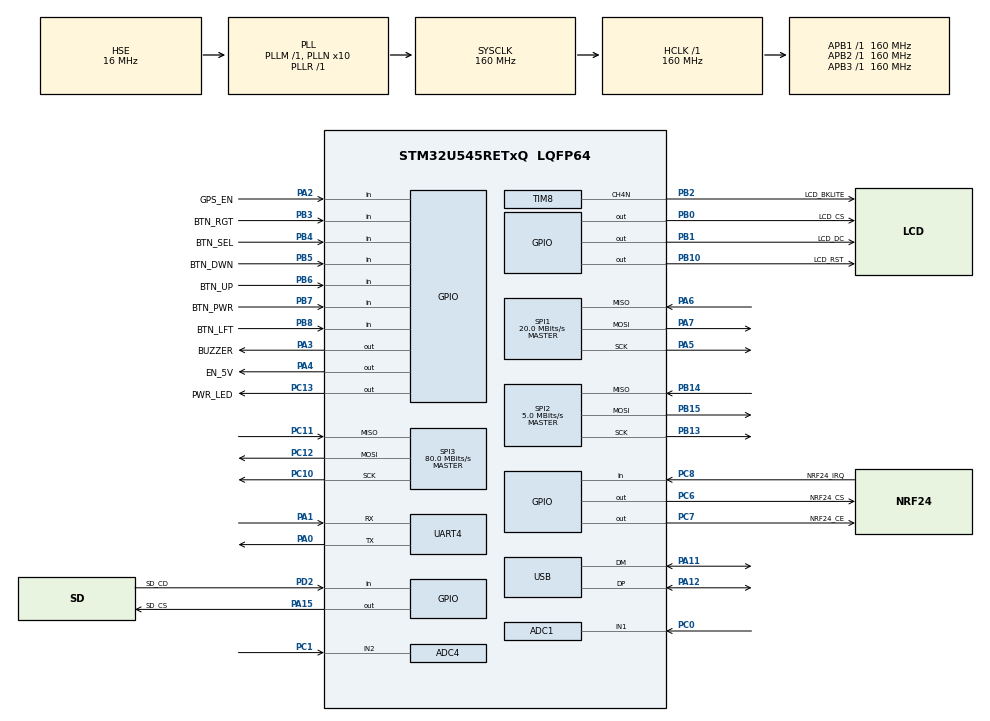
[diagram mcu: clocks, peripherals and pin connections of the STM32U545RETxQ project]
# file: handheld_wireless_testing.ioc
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ADC1.Channel-6\#ChannelRegularConversion=ADC_CHANNEL_1
ADC1.MonitoredBy-6\#ChannelRegularConversion=__NULL
ADC1.NbrOfConversionFlag=1
ADC1.OffsetNumber-6\#ChannelRegularConversion=ADC_OFFSET_NONE
ADC1.Rank-6\#ChannelRegularConversion=1
ADC1.SamplingTime-6\#ChannelRegularConversion=ADC_SAMPLETIME_5CYCLE
ADC1.master=1
ADC4.Channel-0\#ChannelRegularConversion=ADC_CHANNEL_2
ADC4.NbrOfConversionFlag=1
ADC4.OffsetNumber-0\#ChannelRegularConversion=ADC_OFFSET_NONE
ADC4.Rank-0\#ChannelRegularConversion=1
ADC4.RankArg-0\#ChannelRegularConversion=ADC4_REGULAR_RANK_1
ADC4.SamplingTime-0\#ChannelRegularConversion=ADC4_SAMPLINGTIME_COMMON_1
ADC4.SelectedChannel=ADC_CHANNEL_2
CORTEX_M33_NS.userName=CORTEX_M33
GPDMA1.DATAHANDLING_GPDMACH0=NONE
GPDMA1.DESTBURSTLENGTH_GPDMACH0=1
GPDMA1.DIRECTION_GPDMACH0=DMA_MEMORY_TO_PERIPH
GPDMA1.IPHANDLE_GPDMACH0-SIMPLEREQUEST_GPDMACH0=__NULL
GPDMA1.PRIORITY_GPDMACH0=DMA_LOW_PRIORITY_LOW_WEIGHT
GPDMA1.REQUEST_GPDMACH0=GPDMA1_REQUEST_SPI1_TX
GPDMA1.SRCBURSTLENGTH_GPDMACH0=1
GPDMA1.SRCINC_GPDMACH0=DMA_SINC_INCREMENTED
GPDMA1.TRIGGERPOLARITY_GPDMACH0=DMA_TRIG_POLARITY_MASKED
Mcu.Family=STM32U5
Mcu.Name=STM32U545RETxQ
Mcu.Package=LQFP64
NVIC.GPDMA1_Channel0_IRQn=true\:0\:0\:false\:false\:true\:false\:true\:true
NVIC.PriorityGroup=NVIC_PRIORITYGROUP_4
NVIC.SPI1_IRQn=true\:0\:0\:false\:false\:true\:false\:true\:true
NVIC.TIM6_IRQn=true\:0\:0\:false\:false\:true\:true\:true\:true
PA0.Mode=Asynchronous
PA0.Signal=UART4_TX
PA1.Mode=Asynchronous
PA1.Signal=UART4_RX
PA11.Mode=Host
PA11.Signal=USB_DM
PA12.Mode=Host
PA12.Signal=USB_DP
PA13\ (JTMS/SWDIO).Mode=Serial_Wire
PA13\ (JTMS/SWDIO).Signal=DEBUG_JTMS-SWDIO
PA14\ (JTCK/SWCLK).Mode=Serial_Wire
PA14\ (JTCK/SWCLK).Signal=DEBUG_JTCK-SWCLK
PA15\ (JTDI).GPIO_Label=SD_CS
PA15\ (JTDI).Signal=GPIO_Output
PA2.GPIO_Label=GPS_EN
PA2.Signal=GPIO_Input
PA3.GPIO_Label=BUZZER
PA3.Signal=GPIO_Output
PA4.GPIO_Label=EN_5V
PA4.Signal=GPIO_Output
PA5.Mode=Full_Duplex_Master
PA5.Signal=SPI1_SCK
PA6.Mode=Full_Duplex_Master
PA6.Signal=SPI1_MISO
PA7.Mode=Full_Duplex_Master
PA7.Signal=SPI1_MOSI
PB0.GPIO_Label=LCD_CS
PB0.Signal=GPIO_Output
PB1.GPIO_Label=LCD_DC
PB1.Signal=GPIO_Output
PB10.GPIO_Label=LCD_RST
PB10.Signal=GPIO_Output
PB13.Mode=Full_Duplex_Master
PB13.Signal=SPI2_SCK
PB14.Mode=Full_Duplex_Master
PB14.Signal=SPI2_MISO
PB15.Mode=Full_Duplex_Master
PB15.Signal=SPI2_MOSI
PB2.GPIO_Label=LCD_BKLITE
PB2.Mode=PWM Generation4 CH4N
PB2.Signal=TIM8_CH4N
PB3\ (JTDO/TRACESWO).GPIO_Label=BTN_RGT
PB3\ (JTDO/TRACESWO).Signal=GPIO_Input
PB4\ (NJTRST).GPIO_Label=BTN_SEL
PB4\ (NJTRST).Signal=GPIO_Input
PB5.GPIO_Label=BTN_DWN
PB5.Signal=GPIO_Input
PB6.GPIO_Label=BTN_UP
PB6.Signal=GPIO_Input
PB7.GPIO_Label=BTN_PWR
PB7.Signal=GPIO_Input
PB8.GPIO_Label=BTN_LFT
PB8.Signal=GPIO_Input
PC0.Mode=IN1-Single-Ended
PC0.Signal=ADC1_IN1
PC1.Mode=IN2
PC1.Signal=ADC4_IN2
PC10.Mode=Full_Duplex_Master
PC10.Signal=SPI3_SCK
PC11.Mode=Full_Duplex_Master
PC11.Signal=SPI3_MISO
PC12.Mode=Full_Duplex_Master
PC12.Signal=SPI3_MOSI
PC13.GPIO_Label=PWR_LED
PC13.Signal=GPIO_Output
PC6.GPIO_Label=NRF24_CS
PC6.Signal=GPIO_Output
PC7.GPIO_Label=NRF24_CE
PC7.Signal=GPIO_Output
PC8.GPIO_Label=NRF24_IRQ
PC8.Signal=GPIO_Input
PD2.GPIO_Label=SD_CD
PD2.Signal=GPIO_Input
PH0-OSC_IN\ (PH0).Mode=HSE-External-Oscillator
PH0-OSC_IN\ (PH0).Signal=RCC_OSC_IN
PH1-OSC_OUT\ (PH1).Mode=HSE-External-Oscillator
PH1-OSC_OUT\ (PH1).Signal=RCC_OSC_OUT
ProjectManager.HeapSize=0x200
ProjectManager.StackSize=0x400
ProjectManager.TargetToolchain=STM32CubeIDE
RCC.ADCCLockSelection=RCC_ADCDACCLKSOURCE_SYSCLK
RCC.ADCFreq_Value=160000000
RCC.AHBFreq_Value=160000000
RCC.APB1Freq_Value=160000000
RCC.APB1TimFreq_Value=160000000
RCC.APB2Freq_Value=160000000
RCC.APB2TimFreq_Value=160000000
RCC.APB3Freq_Value=160000000
RCC.CK48CLockSelection=RCC_CLK48CLKSOURCE_PLL2
RCC.CortexFreq_Value=160000000
RCC.DACCLockSelectionVirtual=RCC_DAC1CLKSOURCE_LSI
RCC.DACCLockSelectionVirtualString=RCC_DAC1CLKSOURCE_LSI
RCC.EPOD_VALUE=16000000
RCC.HCLKFreq_Value=160000000
RCC.HSE_VALUE=16000000
RCC.HSI48_VALUE=48000000
RCC.HSI_VALUE=16000000
RCC.LSE_VALUE=32768
RCC.LSIDIV_VALUE=32000
RCC.MSI_VALUE=4000000
RCC.PLL1Q=4
RCC.PLL1R=1
RCC.PLL2N=12
RCC.PLL2Q=4
RCC.PLL2Source=RCC_PLLSOURCE_HSE
RCC.PLLN=10
RCC.PLLSourceVirtual=RCC_PLLSOURCE_HSE
RCC.SYSCLKFreq_VALUE=160000000
RCC.SYSCLKSource=RCC_SYSCLKSOURCE_PLLCLK
RCC.USBFreq_Value=48000000
RCC.VCOOutputFreq_Value=160000000
SPI1.BaudRatePrescaler=SPI_BAUDRATEPRESCALER_8
SPI1.CalculateBaudRate=20.0 MBits/s
SPI1.DataSize=SPI_DATASIZE_8BIT
SPI1.Direction=SPI_DIRECTION_2LINES
SPI1.Mode=SPI_MODE_MASTER
SPI1.VirtualType=VM_MASTER
SPI2.BaudRatePrescaler=SPI_BAUDRATEPRESCALER_32
SPI2.CalculateBaudRate=5.0 MBits/s
SPI2.DataSize=SPI_DATASIZE_8BIT
SPI2.Direction=SPI_DIRECTION_2LINES
SPI2.Mode=SPI_MODE_MASTER
SPI2.VirtualType=VM_MASTER
SPI3.BaudRatePrescaler=SPI_BAUDRATEPRESCALER_2
SPI3.CalculateBaudRate=80.0 MBits/s
SPI3.Direction=SPI_DIRECTION_2LINES
SPI3.Mode=SPI_MODE_MASTER
SPI3.VirtualType=VM_MASTER
STMicroelectronics.X-CUBE-TOUCHGFX.4.23.2.tgfx_address1=0x20000000
STMicroelectronics.X-CUBE-TOUCHGFX.4.23.2.tgfx_custom_height=240
STMicroelectronics.X-CUBE-TOUCHGFX.4.23.2.tgfx_custom_width=320
STMicroelectronics.X-CUBE-TOUCHGFX.4.23.2.tgfx_location=Allocate
STMicroelectronics.X-CUBE-TOUCHGFX.4.23.2_IsPackSelfContextualization=true
TIM6.AutoReloadPreload=TIM_AUTORELOAD_PRELOAD_DISABLE
TIM6.PeriodNoDither=9999
TIM6.Prescaler=16000
TIM6.TIM_MasterOutputTrigger=TIM_TRGO_RESET
TIM8.AutoReloadPreload=TIM_AUTORELOAD_PRELOAD_ENABLE
TIM8.Channel-PWM\ Generation4\ CH4N=TIM_CHANNEL_4
TIM8.OCNIdleState_4=TIM_OCNIDLESTATE_RESET
TIM8.PeriodNoDither=1600
TIM8.PulseNoDither_4=800
VP_CRC_VS_CRC.Mode=CRC_Activate
VP_GPDMA1_VS_GPDMACH0.Mode=SIMPLEREQUEST_GPDMACH0
VP_LPBAMQUEUE_VS_QUEUE.Mode=QUEUEMODE
VP_LPBAM_VS_SIG1.Mode=SmartRun
VP_LPBAM_VS_SIG4.Mode=LPDMA1
VP_MEMORYMAP_VS_MEMORYMAP.Mode=CurAppReg
VP_PWR_VS_SECSignals.Mode=Security/Privilege
VP_PWR_Vdda.Mode=isolationVdda
VP_TIM6_VS_ClockSourceINT.Mode=Enable_Timer
board=custom

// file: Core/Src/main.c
/* USER CODE BEGIN Header */
/**
  ******************************************************************************
  * @file           : main.c
  * @brief          : Main program body
  ******************************************************************************
  * @attention
  *
  * Copyright (c) 2024 STMicroelectronics.
  * All rights reserved.
  *
  * This software is licensed under terms that can be found in the LICENSE file
  * in the root directory of this software component.
  * If no LICENSE file comes with this software, it is provided AS-IS.
  *
  ******************************************************************************
  */
/* USER CODE END Header */
#include "main.h"

/* USER CODE BEGIN Includes */
#include "wireless.h"
#include <stdbool.h>
/* USER CODE END Includes */

ADC_HandleTypeDef hadc1;
ADC_HandleTypeDef hadc4;

CRC_HandleTypeDef hcrc;

SPI_HandleTypeDef hspi1;
SPI_HandleTypeDef hspi2;
SPI_HandleTypeDef hspi3;
DMA_HandleTypeDef handle_GPDMA1_Channel0;

TIM_HandleTypeDef htim6;
TIM_HandleTypeDef htim8;

UART_HandleTypeDef huart4;

HCD_HandleTypeDef hhcd_USB_DRD_FS;

void SystemClock_Config(void);
static void MX_GPIO_Init(void);
static void MX_GPDMA1_Init(void);
static void MX_SPI2_Init(void);
static void MX_SPI3_Init(void);
static void MX_USB_DRD_FS_HCD_Init(void);
static void MX_ADC1_Init(void);
static void MX_ADC4_Init(void);
static void MX_TIM8_Init(void);
static void MX_SPI1_Init(void);
static void MX_CRC_Init(void);
static void MX_UART4_Init(void);
static void MX_TIM6_Init(void);

int main(void)
{

  /* MCU Configuration--------------------------------------------------------*/

  /* Reset of all peripherals, Initializes the Flash interface and the Systick. */
  HAL_Init();

  /* Configure the system clock */
  SystemClock_Config();

  /* Initialize all configured peripherals */
  MX_GPIO_Init();
  MX_GPDMA1_Init();
  MX_SPI2_Init();
  MX_SPI3_Init();
  MX_USB_DRD_FS_HCD_Init();
  MX_ADC1_Init();
  MX_ADC4_Init();
  MX_TIM8_Init();
  MX_SPI1_Init();
  MX_CRC_Init();
  MX_UART4_Init();
  MX_TIM6_Init();
  /* USER CODE BEGIN 2 */
  HAL_GPIO_WritePin(PWR_LED_GPIO_Port, PWR_LED_Pin, GPIO_PIN_SET); //set LED pin high to show that program is working
  HAL_GPIO_WritePin(NRF24_CS_GPIO_Port, NRF24_CS_Pin, GPIO_PIN_SET);

  Wireless_TotalRegisterReset();
  Wireless_PowerOn();

	//Wireless_TotalRegisterReset();

  /* USER CODE END 2 */

  /* Infinite loop */
  while (1)
  {

    /* USER CODE BEGIN 3 */
	  /*Beginning of Caleb's edits
	   * change if necessary
	   * I'm a peasant
	   * I also added <stdbool.h> in line 25 if that's allowed
	   */
	  bool buttonPushed;
	  bool handshakeBegun;
	  bool handshakeDone;
	  bool connected;
	  if (handshakeBegun && !connected) {			//if handshake has already been initiated
		  bool txDS = Wireless_Check_TXDS();		//check the TX_DS flag (indicates that ACK has been received)
		  if (!txDS) {								//if ACK not received
			  Wireless_TransmitPld(0x00); 			//reenters transmit mode
			  connected = false;
		  }
		  else {									//if ACK has been received
			  handshakeBegun = false;				//reset handshakeBegun bool
			  handshakeDone = true;					//indicate handshake was successful
			  connected = true;						//indicate the devices are connected
		  }
	  }
	  buttonPushed = true;
	  if (buttonPushed && !handshakeDone) {			//if an external button is triggered to indicate to start handshake
		  Wireless_StartTxHandshake();				//send first transmission to connect to receiver
		  handshakeBegun = true;					//indicate that the handshake has begun
	  }
	  buttonPushed = false;

	  //receiver operation code
	  bool rxButtonPushed;
	  bool rxConnected;
	  bool rxHandshakeBegun;
	  bool rxHandshakeDone;
	  uint8_t rfChannel;

	  if (rxHandshakeBegun && !rxConnected) {
		  bool rxDR = Wireless_Check_RXDR();
		  if (!rxDR) {
			  rfChannel = rfChannel + 1;
			  Wireless_Update_RFChannel(rfChannel);
			  Wireless_ReceiveMode();
			  rxConnected = false;
		  }
		  else {
			  rxConnected = true;
			  rxHandshakeBegun = false;
			  rxHandshakeDone = true;
		  }
	  }

	  rxButtonPushed = true;
	  if (rxButtonPushed && !rxConnected) {
		  Wireless_RxHandshake();
		  rxHandshakeBegun = true;
		  rfChannel = 0x01;
	  }
	  rxButtonPushed = false;

	  /*
	   * end of Caleb's edits
	   */
	  //Wireless_EnableContinuousWave();
	  //HAL_Delay(1000);
	  //Wireless_DisableContinuousWave();
	  //HAL_Delay(1000);
  }
  /* USER CODE END 3 */
}

void SystemClock_Config(void)
{
  RCC_OscInitTypeDef RCC_OscInitStruct = {0};
  RCC_ClkInitTypeDef RCC_ClkInitStruct = {0};

  /** Configure the main internal regulator output voltage
  */
  if (HAL_PWREx_ControlVoltageScaling(PWR_REGULATOR_VOLTAGE_SCALE1) != HAL_OK)
  {
    Error_Handler();
  }

  /** Initializes the CPU, AHB and APB buses clocks
  */
  RCC_OscInitStruct.OscillatorType = RCC_OSCILLATORTYPE_HSE;
  RCC_OscInitStruct.HSEState = RCC_HSE_ON;
  RCC_OscInitStruct.PLL.PLLState = RCC_PLL_ON;
  RCC_OscInitStruct.PLL.PLLSource = RCC_PLLSOURCE_HSE;
  RCC_OscInitStruct.PLL.PLLMBOOST = RCC_PLLMBOOST_DIV1;
  RCC_OscInitStruct.PLL.PLLM = 1;
  RCC_OscInitStruct.PLL.PLLN = 10;
  RCC_OscInitStruct.PLL.PLLP = 2;
  RCC_OscInitStruct.PLL.PLLQ = 4;
  RCC_OscInitStruct.PLL.PLLR = 1;
  RCC_OscInitStruct.PLL.PLLRGE = RCC_PLLVCIRANGE_1;
  RCC_OscInitStruct.PLL.PLLFRACN = 0;
  if (HAL_RCC_OscConfig(&RCC_OscInitStruct) != HAL_OK)
  {
    Error_Handler();
  }

  /** Initializes the CPU, AHB and APB buses clocks
  */
  RCC_ClkInitStruct.ClockType = RCC_CLOCKTYPE_HCLK|RCC_CLOCKTYPE_SYSCLK
                              |RCC_CLOCKTYPE_PCLK1|RCC_CLOCKTYPE_PCLK2
                              |RCC_CLOCKTYPE_PCLK3;
  RCC_ClkInitStruct.SYSCLKSource = RCC_SYSCLKSOURCE_PLLCLK;
  RCC_ClkInitStruct.AHBCLKDivider = RCC_SYSCLK_DIV1;
  RCC_ClkInitStruct.APB1CLKDivider = RCC_HCLK_DIV1;
  RCC_ClkInitStruct.APB2CLKDivider = RCC_HCLK_DIV1;
  RCC_ClkInitStruct.APB3CLKDivider = RCC_HCLK_DIV1;

  if (HAL_RCC_ClockConfig(&RCC_ClkInitStruct, FLASH_LATENCY_4) != HAL_OK)
  {
    Error_Handler();
  }
}

static void MX_ADC1_Init(void)
{

  ADC_ChannelConfTypeDef sConfig = {0};

  /** Common config
  */
  hadc1.Instance = ADC1;
  hadc1.Init.ClockPrescaler = ADC_CLOCK_ASYNC_DIV1;
  hadc1.Init.Resolution = ADC_RESOLUTION_14B;
  hadc1.Init.GainCompensation = 0;
  hadc1.Init.DataAlign = ADC_DATAALIGN_RIGHT;
  hadc1.Init.ScanConvMode = ADC_SCAN_DISABLE;
  hadc1.Init.EOCSelection = ADC_EOC_SINGLE_CONV;
  hadc1.Init.LowPowerAutoWait = DISABLE;
  hadc1.Init.ContinuousConvMode = DISABLE;
  hadc1.Init.NbrOfConversion = 1;
  hadc1.Init.DiscontinuousConvMode = DISABLE;
  hadc1.Init.ExternalTrigConv = ADC_SOFTWARE_START;
  hadc1.Init.ExternalTrigConvEdge = ADC_EXTERNALTRIGCONVEDGE_NONE;
  hadc1.Init.DMAContinuousRequests = DISABLE;
  hadc1.Init.TriggerFrequencyMode = ADC_TRIGGER_FREQ_HIGH;
  hadc1.Init.Overrun = ADC_OVR_DATA_PRESERVED;
  hadc1.Init.LeftBitShift = ADC_LEFTBITSHIFT_NONE;
  hadc1.Init.ConversionDataManagement = ADC_CONVERSIONDATA_DR;
  hadc1.Init.OversamplingMode = DISABLE;
  if (HAL_ADC_Init(&hadc1) != HAL_OK)
  {
    Error_Handler();
  }

  /** Configure Regular Channel
  */
  sConfig.Channel = ADC_CHANNEL_1;
  sConfig.Rank = ADC_REGULAR_RANK_1;
  sConfig.SamplingTime = ADC_SAMPLETIME_5CYCLE;
  sConfig.SingleDiff = ADC_SINGLE_ENDED;
  sConfig.OffsetNumber = ADC_OFFSET_NONE;
  sConfig.Offset = 0;
  if (HAL_ADC_ConfigChannel(&hadc1, &sConfig) != HAL_OK)
  {
    Error_Handler();
  }

}

static void MX_ADC4_Init(void)
{

  ADC_ChannelConfTypeDef sConfig = {0};

  /** Common config
  */
  hadc4.Instance = ADC4;
  hadc4.Init.ClockPrescaler = ADC_CLOCK_ASYNC_DIV1;
  hadc4.Init.Resolution = ADC_RESOLUTION_12B;
  hadc4.Init.DataAlign = ADC_DATAALIGN_RIGHT;
  hadc4.Init.ScanConvMode = ADC4_SCAN_DISABLE;
  hadc4.Init.EOCSelection = ADC_EOC_SINGLE_CONV;
  hadc4.Init.LowPowerAutoPowerOff = ADC_LOW_POWER_NONE;
  hadc4.Init.LowPowerAutoWait = DISABLE;
  hadc4.Init.ContinuousConvMode = DISABLE;
  hadc4.Init.NbrOfConversion = 1;
  hadc4.Init.DiscontinuousConvMode = DISABLE;
  hadc4.Init.ExternalTrigConv = ADC_SOFTWARE_START;
  hadc4.Init.ExternalTrigConvEdge = ADC_EXTERNALTRIGCONVEDGE_NONE;
  hadc4.Init.DMAContinuousRequests = DISABLE;
  hadc4.Init.TriggerFrequencyMode = ADC_TRIGGER_FREQ_LOW;
  hadc4.Init.Overrun = ADC_OVR_DATA_PRESERVED;
  hadc4.Init.SamplingTimeCommon1 = ADC4_SAMPLETIME_1CYCLE_5;
  hadc4.Init.SamplingTimeCommon2 = ADC4_SAMPLETIME_1CYCLE_5;
  hadc4.Init.OversamplingMode = DISABLE;
  if (HAL_ADC_Init(&hadc4) != HAL_OK)
  {
    Error_Handler();
  }

  /** Configure Regular Channel
  */
  sConfig.Channel = ADC_CHANNEL_2;
  sConfig.Rank = ADC4_REGULAR_RANK_1;
  sConfig.SamplingTime = ADC4_SAMPLINGTIME_COMMON_1;
  sConfig.OffsetNumber = ADC_OFFSET_NONE;
  sConfig.Offset = 0;
  if (HAL_ADC_ConfigChannel(&hadc4, &sConfig) != HAL_OK)
  {
    Error_Handler();
  }

}

static void MX_CRC_Init(void)
{

  hcrc.Instance = CRC;
  hcrc.Init.DefaultPolynomialUse = DEFAULT_POLYNOMIAL_ENABLE;
  hcrc.Init.DefaultInitValueUse = DEFAULT_INIT_VALUE_ENABLE;
  hcrc.Init.InputDataInversionMode = CRC_INPUTDATA_INVERSION_NONE;
  hcrc.Init.OutputDataInversionMode = CRC_OUTPUTDATA_INVERSION_DISABLE;
  hcrc.InputDataFormat = CRC_INPUTDATA_FORMAT_BYTES;
  if (HAL_CRC_Init(&hcrc) != HAL_OK)
  {
    Error_Handler();
  }

}

static void MX_GPDMA1_Init(void)
{

  /* Peripheral clock enable */
  __HAL_RCC_GPDMA1_CLK_ENABLE();

  /* GPDMA1 interrupt Init */
    HAL_NVIC_SetPriority(GPDMA1_Channel0_IRQn, 0, 0);
    HAL_NVIC_EnableIRQ(GPDMA1_Channel0_IRQn);

}

static void MX_SPI1_Init(void)
{

  SPI_AutonomousModeConfTypeDef HAL_SPI_AutonomousMode_Cfg_Struct = {0};

  /* SPI1 parameter configuration*/
  hspi1.Instance = SPI1;
  hspi1.Init.Mode = SPI_MODE_MASTER;
  hspi1.Init.Direction = SPI_DIRECTION_2LINES;
  hspi1.Init.DataSize = SPI_DATASIZE_8BIT;
  hspi1.Init.CLKPolarity = SPI_POLARITY_LOW;
  hspi1.Init.CLKPhase = SPI_PHASE_1EDGE;
  hspi1.Init.NSS = SPI_NSS_SOFT;
  hspi1.Init.BaudRatePrescaler = SPI_BAUDRATEPRESCALER_8;
  hspi1.Init.FirstBit = SPI_FIRSTBIT_MSB;
  hspi1.Init.TIMode = SPI_TIMODE_DISABLE;
  hspi1.Init.CRCCalculation = SPI_CRCCALCULATION_DISABLE;
  hspi1.Init.CRCPolynomial = 0x7;
  hspi1.Init.NSSPMode = SPI_NSS_PULSE_ENABLE;
  hspi1.Init.NSSPolarity = SPI_NSS_POLARITY_LOW;
  hspi1.Init.FifoThreshold = SPI_FIFO_THRESHOLD_01DATA;
  hspi1.Init.MasterSSIdleness = SPI_MASTER_SS_IDLENESS_00CYCLE;
  hspi1.Init.MasterInterDataIdleness = SPI_MASTER_INTERDATA_IDLENESS_00CYCLE;
  hspi1.Init.MasterReceiverAutoSusp = SPI_MASTER_RX_AUTOSUSP_DISABLE;
  hspi1.Init.MasterKeepIOState = SPI_MASTER_KEEP_IO_STATE_DISABLE;
  hspi1.Init.IOSwap = SPI_IO_SWAP_DISABLE;
  hspi1.Init.ReadyMasterManagement = SPI_RDY_MASTER_MANAGEMENT_INTERNALLY;
  hspi1.Init.ReadyPolarity = SPI_RDY_POLARITY_HIGH;
  if (HAL_SPI_Init(&hspi1) != HAL_OK)
  {
    Error_Handler();
  }
  HAL_SPI_AutonomousMode_Cfg_Struct.TriggerState = SPI_AUTO_MODE_DISABLE;
  HAL_SPI_AutonomousMode_Cfg_Struct.TriggerSelection = SPI_GRP1_GPDMA_CH0_TCF_TRG;
  HAL_SPI_AutonomousMode_Cfg_Struct.TriggerPolarity = SPI_TRIG_POLARITY_RISING;
  if (HAL_SPIEx_SetConfigAutonomousMode(&hspi1, &HAL_SPI_AutonomousMode_Cfg_Struct) != HAL_OK)
  {
    Error_Handler();
  }

}

static void MX_SPI2_Init(void)
{

  SPI_AutonomousModeConfTypeDef HAL_SPI_AutonomousMode_Cfg_Struct = {0};

  /* SPI2 parameter configuration*/
  hspi2.Instance = SPI2;
  hspi2.Init.Mode = SPI_MODE_MASTER;
  hspi2.Init.Direction = SPI_DIRECTION_2LINES;
  hspi2.Init.DataSize = SPI_DATASIZE_8BIT;
  hspi2.Init.CLKPolarity = SPI_POLARITY_LOW;
  hspi2.Init.CLKPhase = SPI_PHASE_1EDGE;
  hspi2.Init.NSS = SPI_NSS_SOFT;
  hspi2.Init.BaudRatePrescaler = SPI_BAUDRATEPRESCALER_32;
  hspi2.Init.FirstBit = SPI_FIRSTBIT_MSB;
  hspi2.Init.TIMode = SPI_TIMODE_DISABLE;
  hspi2.Init.CRCCalculation = SPI_CRCCALCULATION_DISABLE;
  hspi2.Init.CRCPolynomial = 0x7;
  hspi2.Init.NSSPMode = SPI_NSS_PULSE_ENABLE;
  hspi2.Init.NSSPolarity = SPI_NSS_POLARITY_LOW;
  hspi2.Init.FifoThreshold = SPI_FIFO_THRESHOLD_01DATA;
  hspi2.Init.MasterSSIdleness = SPI_MASTER_SS_IDLENESS_00CYCLE;
  hspi2.Init.MasterInterDataIdleness = SPI_MASTER_INTERDATA_IDLENESS_00CYCLE;
  hspi2.Init.MasterReceiverAutoSusp = SPI_MASTER_RX_AUTOSUSP_DISABLE;
  hspi2.Init.MasterKeepIOState = SPI_MASTER_KEEP_IO_STATE_DISABLE;
  hspi2.Init.IOSwap = SPI_IO_SWAP_DISABLE;
  hspi2.Init.ReadyMasterManagement = SPI_RDY_MASTER_MANAGEMENT_INTERNALLY;
  hspi2.Init.ReadyPolarity = SPI_RDY_POLARITY_HIGH;
  if (HAL_SPI_Init(&hspi2) != HAL_OK)
  {
    Error_Handler();
  }
  HAL_SPI_AutonomousMode_Cfg_Struct.TriggerState = SPI_AUTO_MODE_DISABLE;
  HAL_SPI_AutonomousMode_Cfg_Struct.TriggerSelection = SPI_GRP1_GPDMA_CH0_TCF_TRG;
  HAL_SPI_AutonomousMode_Cfg_Struct.TriggerPolarity = SPI_TRIG_POLARITY_RISING;
  if (HAL_SPIEx_SetConfigAutonomousMode(&hspi2, &HAL_SPI_AutonomousMode_Cfg_Struct) != HAL_OK)
  {
    Error_Handler();
  }

}

static void MX_SPI3_Init(void)
{

  SPI_AutonomousModeConfTypeDef HAL_SPI_AutonomousMode_Cfg_Struct = {0};

  /* SPI3 parameter configuration*/
  hspi3.Instance = SPI3;
  hspi3.Init.Mode = SPI_MODE_MASTER;
  hspi3.Init.Direction = SPI_DIRECTION_2LINES;
  hspi3.Init.DataSize = SPI_DATASIZE_8BIT;
  hspi3.Init.CLKPolarity = SPI_POLARITY_LOW;
  hspi3.Init.CLKPhase = SPI_PHASE_1EDGE;
  hspi3.Init.NSS = SPI_NSS_SOFT;
  hspi3.Init.BaudRatePrescaler = SPI_BAUDRATEPRESCALER_2;
  hspi3.Init.FirstBit = SPI_FIRSTBIT_MSB;
  hspi3.Init.TIMode = SPI_TIMODE_DISABLE;
  hspi3.Init.CRCCalculation = SPI_CRCCALCULATION_DISABLE;
  hspi3.Init.CRCPolynomial = 0x7;
  hspi3.Init.NSSPMode = SPI_NSS_PULSE_ENABLE;
  hspi3.Init.NSSPolarity = SPI_NSS_POLARITY_LOW;
  hspi3.Init.FifoThreshold = SPI_FIFO_THRESHOLD_01DATA;
  hspi3.Init.MasterSSIdleness = SPI_MASTER_SS_IDLENESS_00CYCLE;
  hspi3.Init.MasterInterDataIdleness = SPI_MASTER_INTERDATA_IDLENESS_00CYCLE;
  hspi3.Init.MasterReceiverAutoSusp = SPI_MASTER_RX_AUTOSUSP_DISABLE;
  hspi3.Init.MasterKeepIOState = SPI_MASTER_KEEP_IO_STATE_DISABLE;
  hspi3.Init.IOSwap = SPI_IO_SWAP_DISABLE;
  hspi3.Init.ReadyMasterManagement = SPI_RDY_MASTER_MANAGEMENT_INTERNALLY;
  hspi3.Init.ReadyPolarity = SPI_RDY_POLARITY_HIGH;
  if (HAL_SPI_Init(&hspi3) != HAL_OK)
  {
    Error_Handler();
  }
  HAL_SPI_AutonomousMode_Cfg_Struct.TriggerState = SPI_AUTO_MODE_DISABLE;
  HAL_SPI_AutonomousMode_Cfg_Struct.TriggerSelection = SPI_GRP2_LPDMA_CH0_TCF_TRG;
  HAL_SPI_AutonomousMode_Cfg_Struct.TriggerPolarity = SPI_TRIG_POLARITY_RISING;
  if (HAL_SPIEx_SetConfigAutonomousMode(&hspi3, &HAL_SPI_AutonomousMode_Cfg_Struct) != HAL_OK)
  {
    Error_Handler();
  }

}

static void MX_TIM6_Init(void)
{

  TIM_MasterConfigTypeDef sMasterConfig = {0};

  htim6.Instance = TIM6;
  htim6.Init.Prescaler = 16000;
  htim6.Init.CounterMode = TIM_COUNTERMODE_UP;
  htim6.Init.Period = 9999;
  htim6.Init.AutoReloadPreload = TIM_AUTORELOAD_PRELOAD_DISABLE;
  if (HAL_TIM_Base_Init(&htim6) != HAL_OK)
  {
    Error_Handler();
  }
  sMasterConfig.MasterOutputTrigger = TIM_TRGO_RESET;
  sMasterConfig.MasterSlaveMode = TIM_MASTERSLAVEMODE_DISABLE;
  if (HAL_TIMEx_MasterConfigSynchronization(&htim6, &sMasterConfig) != HAL_OK)
  {
    Error_Handler();
  }

}

static void MX_TIM8_Init(void)
{

  TIM_MasterConfigTypeDef sMasterConfig = {0};
  TIM_OC_InitTypeDef sConfigOC = {0};
  TIM_BreakDeadTimeConfigTypeDef sBreakDeadTimeConfig = {0};

  htim8.Instance = TIM8;
  htim8.Init.Prescaler = 0;
  htim8.Init.CounterMode = TIM_COUNTERMODE_UP;
  htim8.Init.Period = 1600;
  htim8.Init.ClockDivision = TIM_CLOCKDIVISION_DIV1;
  htim8.Init.RepetitionCounter = 0;
  htim8.Init.AutoReloadPreload = TIM_AUTORELOAD_PRELOAD_ENABLE;
  if (HAL_TIM_PWM_Init(&htim8) != HAL_OK)
  {
    Error_Handler();
  }
  sMasterConfig.MasterOutputTrigger = TIM_TRGO_RESET;
  sMasterConfig.MasterOutputTrigger2 = TIM_TRGO2_RESET;
  sMasterConfig.MasterSlaveMode = TIM_MASTERSLAVEMODE_DISABLE;
  if (HAL_TIMEx_MasterConfigSynchronization(&htim8, &sMasterConfig) != HAL_OK)
  {
    Error_Handler();
  }
  sConfigOC.OCMode = TIM_OCMODE_PWM1;
  sConfigOC.Pulse = 800;
  sConfigOC.OCPolarity = TIM_OCPOLARITY_HIGH;
  sConfigOC.OCNPolarity = TIM_OCNPOLARITY_HIGH;
  sConfigOC.OCFastMode = TIM_OCFAST_DISABLE;
  sConfigOC.OCIdleState = TIM_OCIDLESTATE_RESET;
  sConfigOC.OCNIdleState = TIM_OCNIDLESTATE_RESET;
  if (HAL_TIM_PWM_ConfigChannel(&htim8, &sConfigOC, TIM_CHANNEL_4) != HAL_OK)
  {
    Error_Handler();
  }
  sBreakDeadTimeConfig.OffStateRunMode = TIM_OSSR_DISABLE;
  sBreakDeadTimeConfig.OffStateIDLEMode = TIM_OSSI_DISABLE;
  sBreakDeadTimeConfig.LockLevel = TIM_LOCKLEVEL_OFF;
  sBreakDeadTimeConfig.DeadTime = 0;
  sBreakDeadTimeConfig.BreakState = TIM_BREAK_DISABLE;
  sBreakDeadTimeConfig.BreakPolarity = TIM_BREAKPOLARITY_HIGH;
  sBreakDeadTimeConfig.BreakFilter = 0;
  sBreakDeadTimeConfig.BreakAFMode = TIM_BREAK_AFMODE_INPUT;
  sBreakDeadTimeConfig.Break2State = TIM_BREAK2_DISABLE;
  sBreakDeadTimeConfig.Break2Polarity = TIM_BREAK2POLARITY_HIGH;
  sBreakDeadTimeConfig.Break2Filter = 0;
  sBreakDeadTimeConfig.Break2AFMode = TIM_BREAK_AFMODE_INPUT;
  sBreakDeadTimeConfig.AutomaticOutput = TIM_AUTOMATICOUTPUT_DISABLE;
  if (HAL_TIMEx_ConfigBreakDeadTime(&htim8, &sBreakDeadTimeConfig) != HAL_OK)
  {
    Error_Handler();
  }
  HAL_TIM_MspPostInit(&htim8);

}

static void MX_UART4_Init(void)
{

  huart4.Instance = UART4;
  huart4.Init.BaudRate = 115200;
  huart4.Init.WordLength = UART_WORDLENGTH_8B;
  huart4.Init.StopBits = UART_STOPBITS_1;
  huart4.Init.Parity = UART_PARITY_NONE;
  huart4.Init.Mode = UART_MODE_TX_RX;
  huart4.Init.HwFlowCtl = UART_HWCONTROL_NONE;
  huart4.Init.OverSampling = UART_OVERSAMPLING_16;
  huart4.Init.OneBitSampling = UART_ONE_BIT_SAMPLE_DISABLE;
  huart4.Init.ClockPrescaler = UART_PRESCALER_DIV1;
  huart4.AdvancedInit.AdvFeatureInit = UART_ADVFEATURE_NO_INIT;
  if (HAL_UART_Init(&huart4) != HAL_OK)
  {
    Error_Handler();
  }
  if (HAL_UARTEx_SetTxFifoThreshold(&huart4, UART_TXFIFO_THRESHOLD_1_8) != HAL_OK)
  {
    Error_Handler();
  }
  if (HAL_UARTEx_SetRxFifoThreshold(&huart4, UART_RXFIFO_THRESHOLD_1_8) != HAL_OK)
  {
    Error_Handler();
  }
  if (HAL_UARTEx_DisableFifoMode(&huart4) != HAL_OK)
  {
    Error_Handler();
  }

}

static void MX_USB_DRD_FS_HCD_Init(void)
{

  hhcd_USB_DRD_FS.Instance = USB_DRD_FS;
  hhcd_USB_DRD_FS.Init.dev_endpoints = 8;
  hhcd_USB_DRD_FS.Init.Host_channels = 8;
  hhcd_USB_DRD_FS.Init.speed = HCD_SPEED_FULL;
  hhcd_USB_DRD_FS.Init.phy_itface = HCD_PHY_EMBEDDED;
  hhcd_USB_DRD_FS.Init.Sof_enable = DISABLE;
  hhcd_USB_DRD_FS.Init.low_power_enable = DISABLE;
  hhcd_USB_DRD_FS.Init.vbus_sensing_enable = DISABLE;
  hhcd_USB_DRD_FS.Init.bulk_doublebuffer_enable = DISABLE;
  hhcd_USB_DRD_FS.Init.iso_singlebuffer_enable = DISABLE;
  if (HAL_HCD_Init(&hhcd_USB_DRD_FS) != HAL_OK)
  {
    Error_Handler();
  }

}

static void MX_GPIO_Init(void)
{
  GPIO_InitTypeDef GPIO_InitStruct = {0};

  /* GPIO Ports Clock Enable */
  __HAL_RCC_GPIOC_CLK_ENABLE();
  __HAL_RCC_GPIOH_CLK_ENABLE();
  __HAL_RCC_GPIOA_CLK_ENABLE();
  __HAL_RCC_GPIOB_CLK_ENABLE();
  __HAL_RCC_GPIOD_CLK_ENABLE();

  /*Configure GPIO pin Output Level */
  HAL_GPIO_WritePin(GPIOC, PWR_LED_Pin|NRF24_CS_Pin|NRF24_CE_Pin, GPIO_PIN_RESET);

  /*Configure GPIO pin Output Level */
  HAL_GPIO_WritePin(GPIOA, BUZZER_Pin|EN_5V_Pin|SD_CS_Pin, GPIO_PIN_RESET);

  /*Configure GPIO pin Output Level */
  HAL_GPIO_WritePin(GPIOB, LCD_CS_Pin|LCD_DC_Pin|LCD_RST_Pin, GPIO_PIN_RESET);

  /*Configure GPIO pins : PWR_LED_Pin NRF24_CS_Pin NRF24_CE_Pin */
  GPIO_InitStruct.Pin = PWR_LED_Pin|NRF24_CS_Pin|NRF24_CE_Pin;
  GPIO_InitStruct.Mode = GPIO_MODE_OUTPUT_PP;
  GPIO_InitStruct.Pull = GPIO_NOPULL;
  GPIO_InitStruct.Speed = GPIO_SPEED_FREQ_LOW;
  HAL_GPIO_Init(GPIOC, &GPIO_InitStruct);

  /*Configure GPIO pin : GPS_EN_Pin */
  GPIO_InitStruct.Pin = GPS_EN_Pin;
  GPIO_InitStruct.Mode = GPIO_MODE_INPUT;
  GPIO_InitStruct.Pull = GPIO_NOPULL;
  HAL_GPIO_Init(GPS_EN_GPIO_Port, &GPIO_InitStruct);

  /*Configure GPIO pins : BUZZER_Pin EN_5V_Pin SD_CS_Pin */
  GPIO_InitStruct.Pin = BUZZER_Pin|EN_5V_Pin|SD_CS_Pin;
  GPIO_InitStruct.Mode = GPIO_MODE_OUTPUT_PP;
  GPIO_InitStruct.Pull = GPIO_NOPULL;
  GPIO_InitStruct.Speed = GPIO_SPEED_FREQ_LOW;
  HAL_GPIO_Init(GPIOA, &GPIO_InitStruct);

  /*Configure GPIO pins : LCD_CS_Pin LCD_DC_Pin LCD_RST_Pin */
  GPIO_InitStruct.Pin = LCD_CS_Pin|LCD_DC_Pin|LCD_RST_Pin;
  GPIO_InitStruct.Mode = GPIO_MODE_OUTPUT_PP;
  GPIO_InitStruct.Pull = GPIO_NOPULL;
  GPIO_InitStruct.Speed = GPIO_SPEED_FREQ_LOW;
  HAL_GPIO_Init(GPIOB, &GPIO_InitStruct);

  /*Configure GPIO pin : NRF24_IRQ_Pin */
  GPIO_InitStruct.Pin = NRF24_IRQ_Pin;
  GPIO_InitStruct.Mode = GPIO_MODE_INPUT;
  GPIO_InitStruct.Pull = GPIO_NOPULL;
  HAL_GPIO_Init(NRF24_IRQ_GPIO_Port, &GPIO_InitStruct);

  /*Configure GPIO pin : SD_CD_Pin */
  GPIO_InitStruct.Pin = SD_CD_Pin;
  GPIO_InitStruct.Mode = GPIO_MODE_INPUT;
  GPIO_InitStruct.Pull = GPIO_NOPULL;
  HAL_GPIO_Init(SD_CD_GPIO_Port, &GPIO_InitStruct);

  /*Configure GPIO pins : BTN_RGT_Pin BTN_SEL_Pin BTN_DWN_Pin BTN_UP_Pin
                           BTN_PWR_Pin BTN_LFT_Pin */
  GPIO_InitStruct.Pin = BTN_RGT_Pin|BTN_SEL_Pin|BTN_DWN_Pin|BTN_UP_Pin
                          |BTN_PWR_Pin|BTN_LFT_Pin;
  GPIO_InitStruct.Mode = GPIO_MODE_INPUT;
  GPIO_InitStruct.Pull = GPIO_NOPULL;
  HAL_GPIO_Init(GPIOB, &GPIO_InitStruct);

}

void Error_Handler(void)
{
  __disable_irq();
  while (1)
  {
  }
}
